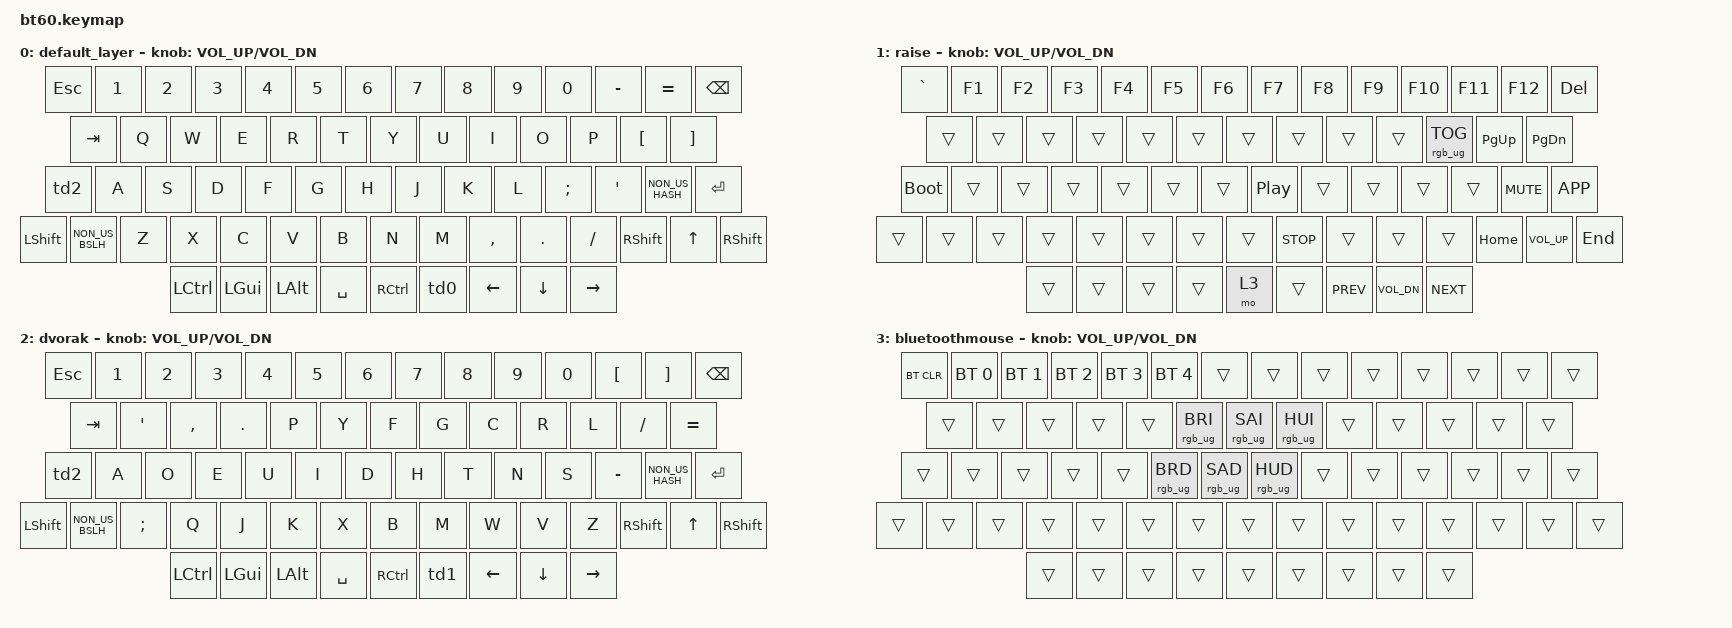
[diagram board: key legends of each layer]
#include <behaviors.dtsi>
#include <dt-bindings/zmk/keys.h>
#include <dt-bindings/zmk/bt.h>
#include <dt-bindings/zmk/rgb.h>
#include <dt-bindings/zmk/backlight.h>

/ {
	behaviors {
        td0: toggle_dvorak {
            compatible = "zmk,behavior-tap-dance";
            label = "toggle_dvorak";
            #binding-cells = <0>;
            tapping-term-ms = <150>;
            bindings = <&mo 1>, <&mo 1>, <&to 2>;
        };
        td1: untoggle_dvorak {
            compatible = "zmk,behavior-tap-dance";
            label = "untoggle_dvorak";
            #binding-cells = <0>;
            tapping-term-ms = <150>;
            bindings = <&mo 1>, <&mo 1>, <&to 0>;
        };
        td2: caps_quickevent {
            compatible = "zmk,behavior-tap-dance";
            label = "caps_quickevent";
            #binding-cells = <0>;
            tapping-term-ms = <150>;
            bindings = <&none>, <&kp CAPS>;
        };
    };

	keymap {
		compatible = "zmk,keymap";

		default_layer {
				// ------------------------------------------------------------------------------------------
				// |  ESC  |  1  |  2  |  3  |  4  |  5  |  6  |  7  |  8  |  9  |  0  |  -  |  =  |   BKSP
				// | TAB  |  Q  |  W  |  E  |  R  |  T  |  Y  |  U  |  I  |  O  |  P  |  [  |  ]  |        |
				// | CAPS  |  A  |  S  |  D  |  F  |  G  |  H  |  J  |  K  |  L  |  ;  |  '  |  #  | ENTER |
				// |  SHIFT|  \ |  Z  |  X  |  C  |  V  |  B  |  N  |  M  |  ,  |  .  | / | SHIFT | UP | SHIFT |
				// |  CTL  |  WIN  |  ALT  |            SPACE               | RCTL | FN | LEFT | DOWN | RIGHT|
				// ------------------------------------------------------------------------------------------
			bindings = <
				&kp ESC &kp N1 &kp N2 &kp N3 &kp N4 &kp N5 &kp N6 &kp N7 &kp N8   &kp N9 &kp N0  &kp MINUS &kp EQUAL &kp BSPC
				&kp TAB  &kp Q  &kp W  &kp E  &kp R  &kp T  &kp Y  &kp U  &kp  I    &kp  O  &kp  P   &kp LBKT &kp RBKT
				&td2  &kp A  &kp S  &kp D  &kp F  &kp G  &kp H  &kp J  &kp  K    &kp  L  &kp SEMI &kp SQT &kp NON_US_HASH  &kp RET
				&kp LSHFT &kp NON_US_BSLH &kp Z  &kp X  &kp C  &kp V  &kp B  &kp N  &kp M  &kp COMMA &kp DOT &kp FSLH &kp RSHFT &kp UP &kp RSHFT
				&kp LCTRL &kp LGUI &kp LALT            &kp SPACE                          &kp RCTRL  &td0 &kp LEFT &kp DOWN    &kp RIGHT
			>;
			sensor-bindings = <&inc_dec_kp C_VOL_UP C_VOL_DN>;
		};
		raise {
                //&trans &trans &trans &trans &trans &trans &trans &trans &trans &trans &trans &trans &trans &trans
                //&trans &trans &trans &trans &trans &trans &trans &trans &trans &trans &trans &trans &trans 
                //&trans &trans &trans &trans &trans &trans &trans &trans &trans &trans &trans &trans &trans &trans 
                //&trans &trans &trans &trans &trans &trans &trans &trans &trans &trans &trans &trans &trans &trans &trans 
                //&trans &trans &trans &trans &trans &trans &trans &trans &trans 
			bindings = <
				&kp GRAVE &kp F1 &kp F2 &kp F3 &kp F4 &kp F5 &kp F6 &kp F7 &kp F8 &kp F9 &kp F10 &kp F11 &kp F12 &kp DEL
				&trans &trans &trans &trans &trans &trans &trans &trans &trans &trans &rgb_ug RGB_TOG &kp PG_UP &kp PG_DN
				&bootloader &trans &trans &trans &trans &trans &trans &kp C_PP &trans &trans &trans  &trans  &kp C_MUTE  &kp K_APP
				&trans &trans &trans &trans &trans &trans &trans &trans &kp C_STOP &trans &trans &trans &kp HOME &kp C_VOL_UP  &kp END
				&trans &trans &trans                 &trans                                 &mo 3 &trans &kp C_PREV &kp C_VOL_DN &kp C_NEXT  
			>;
			sensor-bindings = <&inc_dec_kp C_VOL_UP C_VOL_DN>;
		};
        dvorak {
            bindings = <
                //&trans &trans &trans &trans &trans &trans &trans &trans &trans &trans &trans &trans &trans &trans
                //&trans &trans &trans &trans &trans &trans &trans &trans &trans &trans &trans &trans &trans 
                //&trans &trans &trans &trans &trans &trans &trans &trans &trans &trans &trans &trans &trans &trans 
                //&trans &trans &trans &trans &trans &trans &trans &trans &trans &trans &trans &trans &trans &trans &trans 
                //&trans &trans &trans &trans &trans &trans &trans &trans &trans 
                &kp ESC &kp N1 &kp N2 &kp N3 &kp N4 &kp N5 &kp N6 &kp N7 &kp  N8   &kp  N9 &kp  N0  &kp LBKT &kp RBKT &kp BSPC
				&kp TAB  &kp SQT  &kp COMMA  &kp DOT  &kp P  &kp Y  &kp F  &kp G  &kp C     &kp R   &kp L    &kp FSLH &kp EQUAL
				&td2  &kp A  &kp O  &kp E  &kp U  &kp I  &kp D  &kp H  &kp  T    &kp N   &kp S &kp MINUS &kp NON_US_HASH  &kp RET
				&kp LSHFT &kp NON_US_BSLH &kp SEMI  &kp Q  &kp J  &kp K   &kp X  &kp B  &kp M   &kp W  &kp V  &kp Z  &kp RSHFT &kp UP &kp RSHFT
				&kp LCTRL &kp LGUI &kp LALT            &kp SPACE                          &kp RCTRL  &td1 &kp LEFT &kp DOWN    &kp RIGHT
			>;
			sensor-bindings = <&inc_dec_kp C_VOL_UP C_VOL_DN>;
        };
		bluetoothmouse {
			bindings = <
			&bt BT_CLR &bt BT_SEL 0 &bt BT_SEL 1 &bt BT_SEL 2 &bt BT_SEL 3 &bt BT_SEL 4 &trans &trans &trans &trans &trans &trans &trans &trans 
			&trans &trans &trans &trans &trans &rgb_ug RGB_BRI &rgb_ug RGB_SAI &rgb_ug RGB_HUI &trans &trans &trans &trans &trans 
        	&trans &trans &trans &trans &trans &rgb_ug RGB_BRD &rgb_ug RGB_SAD &rgb_ug RGB_HUD &trans &trans &trans &trans &trans &trans 
            &trans &trans &trans &trans &trans &trans &trans &trans &trans &trans &trans &trans &trans &trans &trans 
            &trans &trans &trans &trans &trans &trans &trans &trans &trans 
			>;
			sensor-bindings = <&inc_dec_kp C_VOL_UP C_VOL_DN>;
		};
		
                
	};
};
